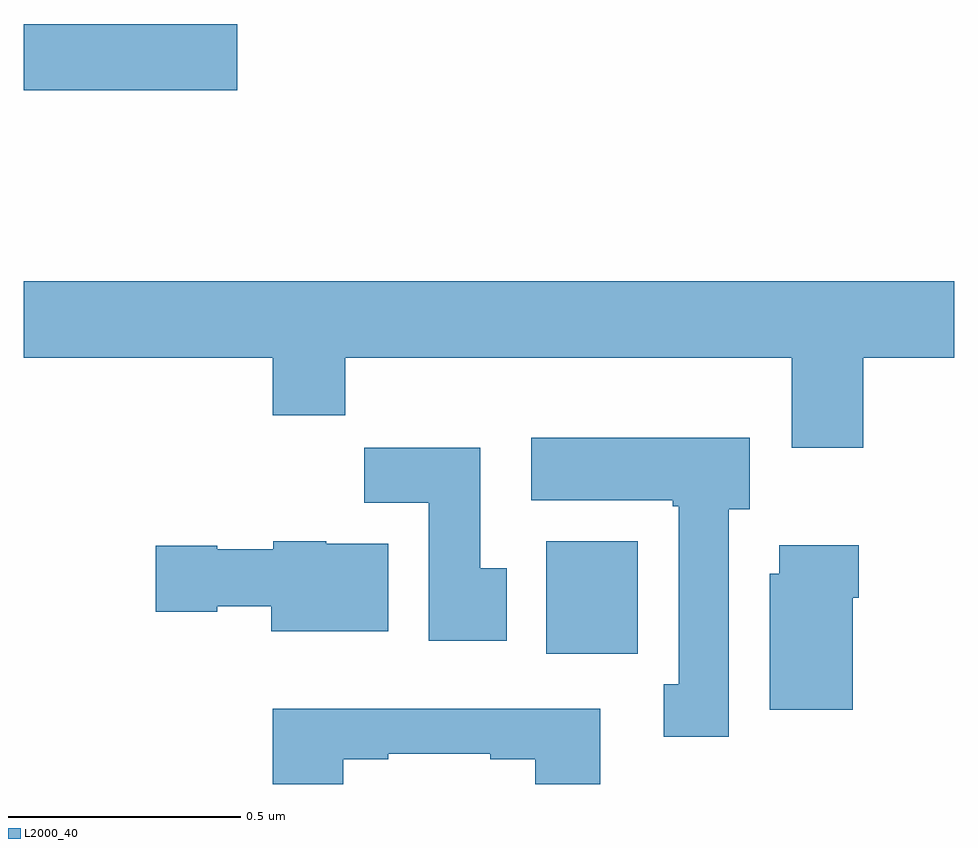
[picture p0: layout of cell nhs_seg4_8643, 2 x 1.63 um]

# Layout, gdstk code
import gdstk
lib = gdstk.Library(unit=1e-6, precision=1e-09)
def R(c, l, rs):  # rectangles x0, y0, x1, y1
    for r in rs: c.add(gdstk.rectangle(r[:2], r[2:], *l))
def P(c, l, *ps):  # polygons
    for p in ps: c.add(gdstk.Polygon(p, *l))
L2000_40 = (2000, 40)

nhs_seg4_8643 = lib.new_cell('nhs_seg4_8643')
R(nhs_seg4_8643, L2000_40, [(218.123,800.18,218.32,800.422), (217,801.391,217.459,801.533)])
P(nhs_seg4_8643, L2000_40, [(218.804,800.816),(219,800.816),(219,800.98),(217,800.98),(217,800.816),(217.535,800.816),(217.535,800.692),(217.691,800.692),(217.691,800.816),(218.651,800.816),(218.651,800.622),(218.804,800.622)],
  [(218.515,800.49),(218.56,800.49),(218.56,800.644),(218.091,800.644),(218.091,800.51),(218.395,800.51),(218.395,800.497),(218.408,800.497),(218.408,800.114),(218.375,800.114),(218.375,800.001),(218.515,800.001)],
  [(218.038,800.364),(217.981,800.364),(217.981,800.623),(217.732,800.623),(217.732,800.504),(217.871,800.504),(217.871,800.208),(218.038,800.208)],
  [(217.783,800.416),(217.65,800.416),(217.65,800.422),(217.536,800.422),(217.536,800.404),(217.416,800.404),(217.416,800.412),(217.284,800.412),(217.284,800.27),(217.416,800.27),(217.416,800.282),(217.532,800.282),(217.532,800.228),(217.783,800.228)],
  [(218.782,800.3),(218.795,800.3),(218.795,800.413),(218.624,800.413),(218.624,800.352),(218.603,800.352),(218.603,800.06),(218.782,800.06)],
  [(217.687,799.953),(217.783,799.953),(217.783,799.965),(218.003,799.965),(218.003,799.953),(218.099,799.953),(218.099,799.9),(218.239,799.9),(218.239,800.062),(217.535,800.062),(217.535,799.9),(217.687,799.9)])

lib.write_gds('nhs_seg4_8643.gds')
